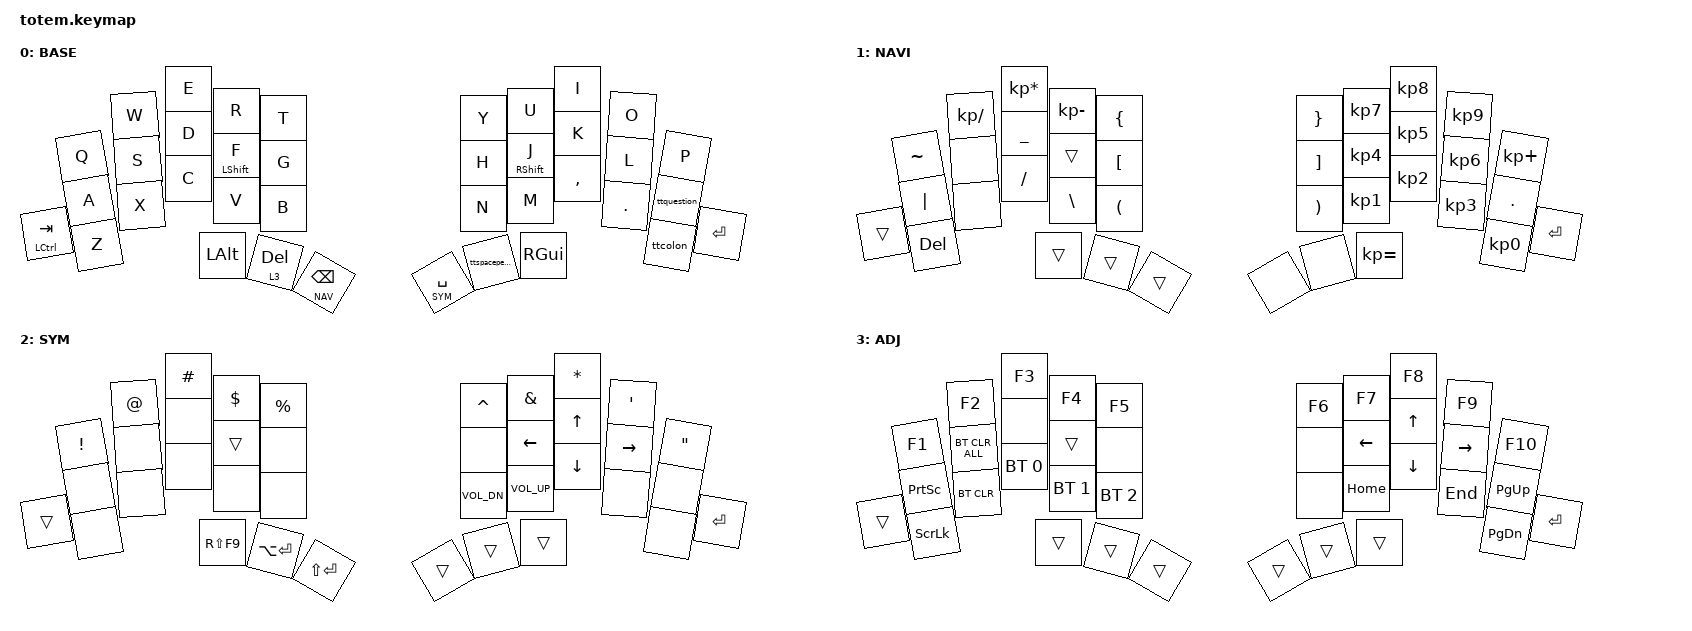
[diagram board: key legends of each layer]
//
//                                                        ▀▀▀▀▀     ▀▀▀▀▀          ▀▀█▀▀
//                                                        ▄▀▀▀▄  ▄  ▄▀▀▀▄  ▄  ▄▀▀▀▄  █  ▄▀▀▀▄
//                                                        █   █  █  █   █  █  █   █  █  █   █
//                                                         ▀▀▀   █   ▀▀▀   █   ▀▀▀   ▀   ▀▀▀
//                                                               █      ▄▄▄█▄▄▄    █   █  
//                                                               ▀      █  █  █     █▄█
//                                                             ▀▀▀▀▀    █  █  █      ▀
//                                                                      ▀  ▀  ▀
//
// ▄▄▄▄▄▄▄▄▄▄▄▄▄▄▄▄▄▄▄▄▄▄▄▄▄▄▄▄▄▄▄▄▄▄▄▄▄▄▄▄▄▄▄▄▄▄▄▄▄▄▄▄▄▄▄▄▄▄▄▄▄▄▄▄▄▄▄▄▄▄▄▄▄▄▄▄▄▄▄▄▄▄▄▄▄▄▄▄▄▄▄▄▄▄▄▄▄▄▄▄▄▄▄▄▄▄▄▄▄▄▄▄▄▄▄▄▄▄▄▄▄▄▄▄▄▄▄▄▄▄▄▄▄▄▄▄▄▄▄▄▄▄▄▄▄▄▄▄▄

#include <behaviors.dtsi>
#include <dt-bindings/zmk/bt.h>
#include <dt-bindings/zmk/keys.h>

#define BASE 0
#define NAV  1
#define SYM  2
#define ADJ  3

&mt {
    quick-tap-ms = <100>;
    global-quick-tap;
    flavor = "tap-preferred";
    tapping-term-ms = <170>;
};

/ {
    combos {
        compatible = "zmk,combos";

        combo_esc {
            timeout-ms = <50>;
            key-positions = <0 1>;
            bindings = <&kp ESC>;
        };

        Entre {
            bindings = <&kp ENTER>;
            key-positions = <5 6>;
        };

        rfrsh {
            bindings = <&kp F5>;
            key-positions = <2 3>;
        };

        urlbar {
            bindings = <&kp F6>;
            key-positions = <12 13>;
        };

        ef4 {
            bindings = <&kp F4>;
            key-positions = <6 7>;
        };
    };

    behaviors {
        hmrl: hmrl {
            compatible = "zmk,behavior-hold-tap";
            label = "HMRL";
            bindings = <&kp>, <&kp>;

            #binding-cells = <2>;
            tapping-term-ms = <150>;
            hold-while-undecided;
            hold-trigger-key-positions = <0 1 3 4 10 11 12 13 14 20 21 22 23 24 25 32 33 34 2 35 36 37>;
            hold-trigger-on-release;
        };

        hmrr: hmrr {
            compatible = "zmk,behavior-hold-tap";
            label = "HMRR";
            bindings = <&kp>, <&kp>;

            #binding-cells = <2>;
            tapping-term-ms = <150>;
            hold-while-undecided;
            hold-trigger-on-release;
            hold-trigger-key-positions = <32 33 34 5 6 7 8 9 15 16 17 18 19 26 27 28 29 30 31 34 35 36 37>;
        };

        hmrctrL: hmrctrL {
            compatible = "zmk,behavior-hold-tap";
            label = "HMRCTRL";
            bindings = <&kp>, <&kp>;

            #binding-cells = <2>;
            tapping-term-ms = <200>;
            hold-while-undecided;
            hold-trigger-key-positions = <0 1 3 4 10 11 12 13 14 20 21 22 23 24 25 32 33 34 2 35 36 37>;
            hold-trigger-on-release;
        };

        hmrctrR: hmrctrR {
            compatible = "zmk,behavior-hold-tap";
            label = "HMRCTRR";
            bindings = <&kp>, <&kp>;

            #binding-cells = <2>;
            tapping-term-ms = <200>;
            hold-while-undecided;
            hold-trigger-on-release;
            hold-trigger-key-positions = <32 33 34 5 6 7 8 9 15 16 17 18 19 26 27 28 29 30 31 34 35 36 37>;
        };

        ttcolon: ttcolon {
            compatible = "zmk,behavior-tap-dance";
            label = "TTCOLON";
            #binding-cells = <0>;
            bindings = <&kp SEMICOLON>, <&kp COLON>;
        };

        ttquestion: ttquestion {
            compatible = "zmk,behavior-tap-dance";
            label = "TTQUESTION";
            #binding-cells = <0>;
            bindings = <&kp QUESTION>, <&kp EXCL>;
        };

        ttspaceperiod: ttspaceperiod {
            compatible = "zmk,behavior-tap-dance";
            label = "TTSPACEPERIOD";
            #binding-cells = <0>;
            bindings = <&kp SPACE>, <&kp KP_DOT>;
        };
    };

    keymap {
        compatible = "zmk,keymap";

        // ▄▄▄▄▄▄▄▄▄▄▄▄▄▄▄▄▄▄▄▄▄▄▄▄▄▄▄▄▄▄▄▄▄▄▄▄▄▄▄▄▄▄▄▄▄▄▄▄▄▄▄▄▄▄▄▄▄▄▄▄▄▄▄▄▄▄▄▄▄▄▄▄▄▄▄▄▄▄▄▄▄▄▄▄▄▄▄▄▄▄▄▄▄▄▄▄▄▄▄▄▄▄▄▄▄▄▄▄▄▄▄▄▄▄▄▄▄▄▄▄▄▄▄▄▄▄▄▄▄▄▄▄▄▄▄▄▄▄▄▄▄▄▄▄▄▄▄▄▄

        base_layer {
            // ┏━━━━━━━━━━━━━━━━━━━━━━━━━━━━━━━━━━━━━━━┓

            label = "BASE";

            // ┗━━━━━━━━━━━━━━━━━━━━━━━━━━━━━━━━━━━━━━━┛
            //             ┏━━━━━━━━━━━┳━━━━━━━━━━━┳━━━━━━━━━━━┳━━━━━━━━━━━┳━━━━━━━━━━━┓   ┏━━━━━━━━━━━┳━━━━━━━━━━━┳━━━━━━━━━━━┳━━━━━━━━━━━┳━━━━━━━━━━━┓
            //             ┃     Q     ┃     W     ┃     F     ┃     P     ┃     G     ┃   ┃     J     ┃     L     ┃     U     ┃     Y     ┃     ;     ┃
            //             ┣━━━━━━━━━━━╋━━━━━━━━━━━╋━━━━━━━━━━━╋━━━━━━━━━━━╋━━━━━━━━━━━┫   ┣━━━━━━━━━━━╋━━━━━━━━━━━╋━━━━━━━━━━━╋━━━━━━━━━━━╋━━━━━━━━━━━┫
            //             ┃     A     ┃     R     ┃     S     ┃     T     ┃     D     ┃   ┃     H     ┃     N     ┃     E     ┃     I     ┃     O     ┃
            // ┏━━━━━━━━━━━╋━━━━━━━━━━━╋━━━━━━━━━━━╋━━━━━━━━━━━╋━━━━━━━━━━━╋━━━━━━━━━━━┫   ┣━━━━━━━━━━━╋━━━━━━━━━━━╋━━━━━━━━━━━╋━━━━━━━━━━━╋━━━━━━━━━━━╋━━━━━━━━━━━┓
            // ┃           ┃     Z     ┃     X     ┃     C     ┃     V     ┃     B     ┃   ┃     K     ┃     M     ┃     ,     ┃     .     ┃     /     ┃           ┃
            // ┗━━━━━━━━━━━┻━━━━━━━━━━━┻━━━━━━━━━━━╋━━━━━━━━━━━╋━━━━━━━━━━━╋━━━━━━━━━━━┫   ┣━━━━━━━━━━━╋━━━━━━━━━━━╋━━━━━━━━━━━╋━━━━━━━━━━━┻━━━━━━━━━━━┻━━━━━━━━━━━┛
            //                                     ┃           ┃    TAB    ┃    SPC    ┃   ┃   ENTER   ┃   BSPC    ┃           ┃
            //                                     ┗━━━━━━━━━━━┻━━━━━━━━━━━┻━━━━━━━━━━━┛   ┗━━━━━━━━━━━┻━━━━━━━━━━━┻━━━━━━━━━━━┛

            bindings = <
                    &kp Q  &kp W  &kp E         &kp R               &kp T                &kp Y          &kp U                &kp I          &kp O    &kp P
                    &kp A  &kp S  &kp D         &hmrl LEFT_SHIFT F  &kp G                &kp H          &hmrr RIGHT_SHIFT J  &kp K          &kp L    &ttquestion
&hmrctrL LCTRL TAB  &kp Z  &kp X  &kp C         &kp V               &kp B                &kp N          &kp M                &kp COMMA      &kp DOT  &ttcolon     &kp ENTER
                                  &kp LEFT_ALT  &lt 3 DELETE        &lt NAV BACKSPACE    &lt SYM SPACE  &ttspaceperiod       &kp RIGHT_GUI
            >;
        };

        // ▄▄▄▄▄▄▄▄▄▄▄▄▄▄▄▄▄▄▄▄▄▄▄▄▄▄▄▄▄▄▄▄▄▄▄▄▄▄▄▄▄▄▄▄▄▄▄▄▄▄▄▄▄▄▄▄▄▄▄▄▄▄▄▄▄▄▄▄▄▄▄▄▄▄▄▄▄▄▄▄▄▄▄▄▄▄▄▄▄▄▄▄▄▄▄▄▄▄▄▄▄▄▄▄▄▄▄▄▄▄▄▄▄▄▄▄▄▄▄▄▄▄▄▄▄▄▄▄▄▄▄▄▄▄▄▄▄▄▄▄▄▄▄▄▄▄▄▄▄

        nav_layer {
            // ┏━━━━━━━━━━━━━━━━━━━━━━━━━━━━━━━━━━━━━━━┓

            label = "NAVI";

            // ┗━━━━━━━━━━━━━━━━━━━━━━━━━━━━━━━━━━━━━━━┛
            //             ┏━━━━━━━━━━━┳━━━━━━━━━━━┳━━━━━━━━━━━┳━━━━━━━━━━━┳━━━━━━━━━━━┓   ┏━━━━━━━━━━━┳━━━━━━━━━━━┳━━━━━━━━━━━┳━━━━━━━━━━━┳━━━━━━━━━━━┓
            //             ┃           ┃           ┃     UP    ┃           ┃     {     ┃   ┃     }     ┃     7     ┃     8     ┃     9     ┃     +     ┃
            //             ┣━━━━━━━━━━━╋━━━━━━━━━━━╋━━━━━━━━━━━╋━━━━━━━━━━━╋━━━━━━━━━━━┫   ┣━━━━━━━━━━━╋━━━━━━━━━━━╋━━━━━━━━━━━╋━━━━━━━━━━━╋━━━━━━━━━━━┫
            //             ┃   SHIFT   ┃   LEFT    ┃    DOWN   ┃   RIGHT   ┃     [     ┃   ┃     ]     ┃     4     ┃     5     ┃     6     ┃     -     ┃
            // ┏━━━━━━━━━━━╋━━━━━━━━━━━╋━━━━━━━━━━━╋━━━━━━━━━━━╋━━━━━━━━━━━╋━━━━━━━━━━━┫   ┣━━━━━━━━━━━╋━━━━━━━━━━━╋━━━━━━━━━━━╋━━━━━━━━━━━╋━━━━━━━━━━━╋━━━━━━━━━━━┓
            // ┃           ┃           ┃   P UP    ┃  C LOCK   ┃  P DOWN   ┃     (     ┃   ┃     )     ┃     1     ┃     2     ┃     3     ┃     *     ┃           ┃
            // ┗━━━━━━━━━━━┻━━━━━━━━━━━┻━━━━━━━━━━━╋━━━━━━━━━━━╋━━━━━━━━━━━╋━━━━━━━━━━━┫   ┣━━━━━━━━━━━╋━━━━━━━━━━━╋━━━━━━━━━━━╋━━━━━━━━━━━┻━━━━━━━━━━━┻━━━━━━━━━━━┛
            //                                     ┃           ┃    TAB    ┃    SPC    ┃   ┃    DEL    ┃     0     ┃           ┃
            //                                     ┗━━━━━━━━━━━┻━━━━━━━━━━━┻━━━━━━━━━━━┛   ┗━━━━━━━━━━━┻━━━━━━━━━━━┻━━━━━━━━━━━┛

            bindings = <
        &kp TILDE  &kp KP_SLASH  &kp KP_MULTIPLY  &kp KP_MINUS   &kp LEFT_BRACE    &kp RBRC  &kp KP_N7  &kp KP_N8     &kp KP_N9  &kp KP_PLUS
        &kp PIPE   &none         &kp UNDERSCORE   &trans         &kp LBKT          &kp RBKT  &kp KP_N4  &kp KP_N5     &kp KP_N6  &kp PERIOD
&trans  &kp DEL    &none         &kp SLASH        &kp BACKSLASH  &kp LPAR          &kp RPAR  &kp KP_N1  &kp KP_N2     &kp KP_N3  &kp KP_NUMBER_0  &kp ENTER
                                 &trans           &trans         &trans            &none     &none      &kp KP_EQUAL
            >;
        };

        // ▄▄▄▄▄▄▄▄▄▄▄▄▄▄▄▄▄▄▄▄▄▄▄▄▄▄▄▄▄▄▄▄▄▄▄▄▄▄▄▄▄▄▄▄▄▄▄▄▄▄▄▄▄▄▄▄▄▄▄▄▄▄▄▄▄▄▄▄▄▄▄▄▄▄▄▄▄▄▄▄▄▄▄▄▄▄▄▄▄▄▄▄▄▄▄▄▄▄▄▄▄▄▄▄▄▄▄▄▄▄▄▄▄▄▄▄▄▄▄▄▄▄▄▄▄▄▄▄▄▄▄▄▄▄▄▄▄▄▄▄▄▄▄▄▄▄▄▄▄

        sim_layer {
            // ┏━━━━━━━━━━━━━━━━━━━━━━━━━━━━━━━━━━━━━━━┓

            label = "SYM";

            // ┗━━━━━━━━━━━━━━━━━━━━━━━━━━━━━━━━━━━━━━━┛
            //             ┏━━━━━━━━━━━┳━━━━━━━━━━━┳━━━━━━━━━━━┳━━━━━━━━━━━┳━━━━━━━━━━━┓   ┏━━━━━━━━━━━┳━━━━━━━━━━━┳━━━━━━━━━━━┳━━━━━━━━━━━┳━━━━━━━━━━━┓
            //             ┃     !     ┃     @     ┃     #     ┃     $     ┃     %     ┃   ┃     ˆ     ┃     &     ┃     Ü     ┃     '     ┃     "     ┃
            //             ┣━━━━━━━━━━━╋━━━━━━━━━━━╋━━━━━━━━━━━╋━━━━━━━━━━━╋━━━━━━━━━━━┫   ┣━━━━━━━━━━━╋━━━━━━━━━━━╋━━━━━━━━━━━╋━━━━━━━━━━━╋━━━━━━━━━━━┫
            //             ┃     Ä     ┃           ┃    SZ     ┃           ┃           ┃   ┃   MUTE    ┃   YEN     ┃   EURO    ┃  POUND    ┃     Ö     ┃
            // ┏━━━━━━━━━━━╋━━━━━━━━━━━╋━━━━━━━━━━━╋━━━━━━━━━━━╋━━━━━━━━━━━╋━━━━━━━━━━━┫   ┣━━━━━━━━━━━╋━━━━━━━━━━━╋━━━━━━━━━━━╋━━━━━━━━━━━╋━━━━━━━━━━━╋━━━━━━━━━━━┓
            // ┃           ┃  EMAIL1   ┃  EMAIL2   ┃           ┃           ┃           ┃   ┃   VOL-    ┃   VOL+    ┃   LAST    ┃   NEXT    ┃     \     ┃           ┃
            // ┗━━━━━━━━━━━┻━━━━━━━━━━━┻━━━━━━━━━━━╋━━━━━━━━━━━╋━━━━━━━━━━━╋━━━━━━━━━━━┫   ┣━━━━━━━━━━━╋━━━━━━━━━━━╋━━━━━━━━━━━╋━━━━━━━━━━━┻━━━━━━━━━━━┻━━━━━━━━━━━┛
            //                                     ┃           ┃    GIF    ┃    ADJ    ┃   ┃           ┃           ┃           ┃
            //                                     ┗━━━━━━━━━━━┻━━━━━━━━━━━┻━━━━━━━━━━━┛   ┗━━━━━━━━━━━┻━━━━━━━━━━━┻━━━━━━━━━━━┛

            bindings = <
        &kp EXCL  &kp AT  &kp HASH    &kp DLLR       &kp PRCNT        &kp CARET     &kp AMPS      &kp ASTERISK  &kp SQT    &kp DQT
        &none     &none   &none       &trans         &none            &none         &kp LEFT      &kp UP_ARROW  &kp RIGHT  &none
&trans  &none     &none   &none       &none          &none            &kp C_VOL_DN  &kp C_VOL_UP  &kp DOWN      &none      &none    &kp ENTER
                          &kp RS(F9)  &kp LA(ENTER)  &kp LS(ENTER)    &trans        &trans        &trans
            >;
        };

        // ▄▄▄▄▄▄▄▄▄▄▄▄▄▄▄▄▄▄▄▄▄▄▄▄▄▄▄▄▄▄▄▄▄▄▄▄▄▄▄▄▄▄▄▄▄▄▄▄▄▄▄▄▄▄▄▄▄▄▄▄▄▄▄▄▄▄▄▄▄▄▄▄▄▄▄▄▄▄▄▄▄▄▄▄▄▄▄▄▄▄▄▄▄▄▄▄▄▄▄▄▄▄▄▄▄▄▄▄▄▄▄▄▄▄▄▄▄▄▄▄▄▄▄▄▄▄▄▄▄▄▄▄▄▄▄▄▄▄▄▄▄▄▄▄▄▄▄▄▄

        adjust_layer {
            // ┏━━━━━━━━━━━━━━━━━━━━━━━━━━━━━━━━━━━━━━━┓

            label = "ADJ";

            // ┗━━━━━━━━━━━━━━━━━━━━━━━━━━━━━━━━━━━━━━━┛
            //             ┏━━━━━━━━━━━┳━━━━━━━━━━━┳━━━━━━━━━━━┳━━━━━━━━━━━┳━━━━━━━━━━━┓   ┏━━━━━━━━━━━┳━━━━━━━━━━━┳━━━━━━━━━━━┳━━━━━━━━━━━┳━━━━━━━━━━━┓
            //             ┃   RESET   ┃ BT CLEAR  ┃  OUT TOG  ┃           ┃           ┃   ┃           ┃    F7     ┃    F8     ┃    F9     ┃    F12    ┃
            //             ┣━━━━━━━━━━━╋━━━━━━━━━━━╋━━━━━━━━━━━╋━━━━━━━━━━━╋━━━━━━━━━━━┫   ┣━━━━━━━━━━━╋━━━━━━━━━━━╋━━━━━━━━━━━╋━━━━━━━━━━━╋━━━━━━━━━━━┫
            //             ┃ BOOTLOAD  ┃ BT NEXT   ┃           ┃           ┃           ┃   ┃           ┃    F4     ┃    F5     ┃    F6     ┃    F11    ┃
            // ┏━━━━━━━━━━━╋━━━━━━━━━━━╋━━━━━━━━━━━╋━━━━━━━━━━━╋━━━━━━━━━━━╋━━━━━━━━━━━┫   ┣━━━━━━━━━━━╋━━━━━━━━━━━╋━━━━━━━━━━━╋━━━━━━━━━━━╋━━━━━━━━━━━╋━━━━━━━━━━━┓
            // ┃           ┃           ┃ BT PREV   ┃           ┃           ┃           ┃   ┃           ┃    F1     ┃    F2     ┃    F3     ┃    F10    ┃           ┃
            // ┗━━━━━━━━━━━┻━━━━━━━━━━━┻━━━━━━━━━━━╋━━━━━━━━━━━╋━━━━━━━━━━━╋━━━━━━━━━━━┫   ┣━━━━━━━━━━━╋━━━━━━━━━━━╋━━━━━━━━━━━╋━━━━━━━━━━━┻━━━━━━━━━━━┻━━━━━━━━━━━┛
            //                                     ┃           ┃           ┃           ┃   ┃           ┃           ┃           ┃
            //                                     ┗━━━━━━━━━━━┻━━━━━━━━━━━┻━━━━━━━━━━━┛   ┗━━━━━━━━━━━┻━━━━━━━━━━━┻━━━━━━━━━━━┛

            bindings = <
        &kp F1           &kp F2          &kp F3        &kp F4        &kp F5          &kp F6  &kp F7    &kp F8        &kp F9     &kp F10
        &kp PRINTSCREEN  &bt BT_CLR_ALL  &none         &trans        &none           &none   &kp LEFT  &kp UP_ARROW  &kp RIGHT  &kp PG_UP
&trans  &kp SCROLLLOCK   &bt BT_CLR      &bt BT_SEL 0  &bt BT_SEL 1  &bt BT_SEL 2    &none   &kp HOME  &kp DOWN      &kp END    &kp PG_DN  &kp ENTER
                                         &trans        &trans        &trans          &trans  &trans    &trans
            >;
        };
    };
};
